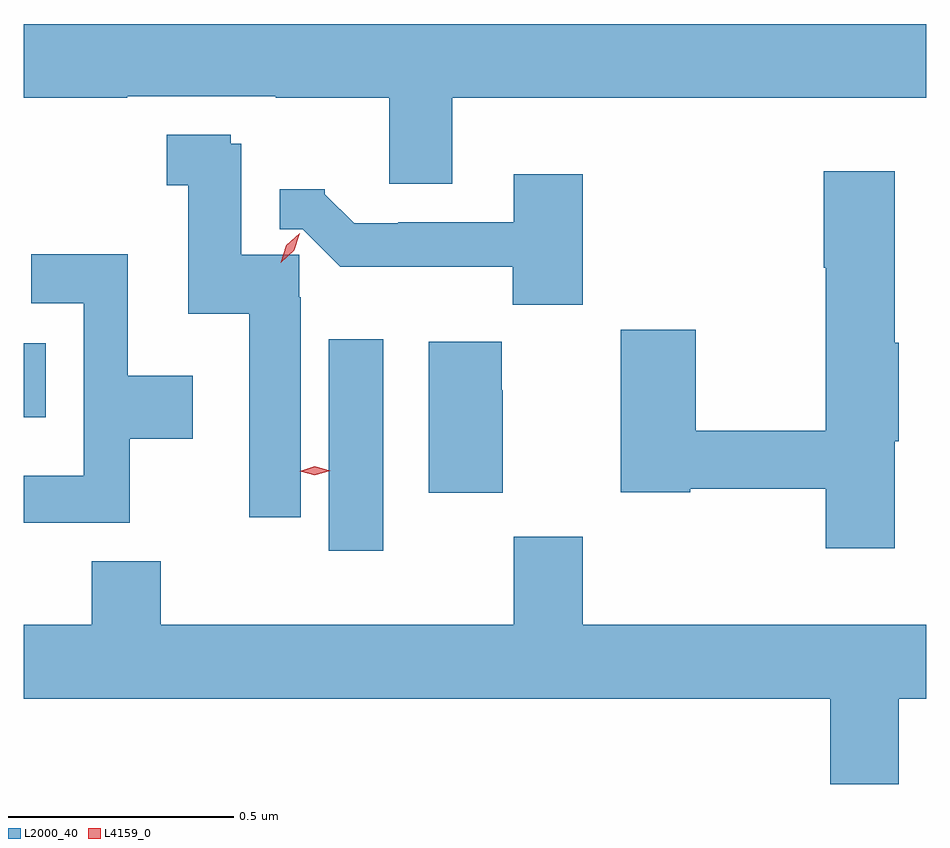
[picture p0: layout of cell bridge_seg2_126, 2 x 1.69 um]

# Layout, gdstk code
import gdstk
lib = gdstk.Library(unit=1e-6, precision=1e-09)
def R(c, l, rs):  # rectangles x0, y0, x1, y1
    for r in rs: c.add(gdstk.rectangle(r[:2], r[2:], *l))
def P(c, l, *ps):  # polygons
    for p in ps: c.add(gdstk.Polygon(p, *l))
L2000_40 = (2000, 40)
L4159_0 = (4159, 0)

bridge_seg2_126 = lib.new_cell('bridge_seg2_126')
R(bridge_seg2_126, L2000_40, [(490.371,643.968,490.492,644.437), (489.695,644.264,489.743,644.428)])
P(bridge_seg2_126, L2000_40, [(490.645,644.972),(491.695,644.972),(491.695,645.136),(489.695,645.136),(489.695,644.972),(489.924,644.972),(489.924,644.976),(490.253,644.976),(490.253,644.972),(490.505,644.972),(490.505,644.782),(490.645,644.782)],
  [(490.309,644.53),(490.305,644.53),(490.305,644.624),(490.177,644.624),(490.177,644.87),(490.153,644.87),(490.153,644.891),(490.012,644.891),(490.012,644.778),(490.059,644.778),(490.059,644.494),(490.194,644.494),(490.194,644.042),(490.309,644.042)],
  [(491.626,644.211),(491.634,644.211),(491.634,644.429),(491.626,644.429),(491.626,644.809),(491.468,644.809),(491.468,644.596),(491.473,644.596),(491.473,644.234),(491.184,644.234),(491.184,644.458),(491.018,644.458),(491.018,644.098),(491.172,644.098),(491.172,644.106),(491.473,644.106),(491.473,643.974),(491.626,643.974)],
  [(490.934,644.803),(490.781,644.803),(490.781,644.697),(490.525,644.697),(490.525,644.694),(490.427,644.694),(490.362,644.759),(490.362,644.77),(490.262,644.77),(490.262,644.681),(490.313,644.681),(490.396,644.598),(490.779,644.598),(490.779,644.513),(490.934,644.513)],
  [(489.929,644.216),(490.069,644.216),(490.069,644.356),(489.925,644.356),(489.925,644.626),(489.711,644.626),(489.711,644.517),(489.828,644.517),(489.828,644.134),(489.695,644.134),(489.695,644.03),(489.929,644.03)],
  [(490.756,644.324),(490.754,644.324),(490.754,644.431),(490.592,644.431),(490.592,644.097),(490.756,644.097)],
  [(491.635,643.64),(491.695,643.64),(491.695,643.804),(490.934,643.804),(490.934,643.999),(490.781,643.999),(490.781,643.804),(489.998,643.804),(489.998,643.945),(489.845,643.945),(489.845,643.804),(489.695,643.804),(489.695,643.64),(491.483,643.64),(491.483,643.451),(491.635,643.451)])
P(bridge_seg2_126, L4159_0, [(490.264,644.607),(490.264,644.607),(490.277,644.645),(490.307,644.672),(490.307,644.672),(490.307,644.672),(490.294,644.634),(490.264,644.607)],
  [(490.34,644.135),(490.306,644.144),(490.306,644.144),(490.306,644.144),(490.34,644.155),(490.374,644.146),(490.374,644.146),(490.374,644.145)])

lib.write_gds('bridge_seg2_126.gds')
